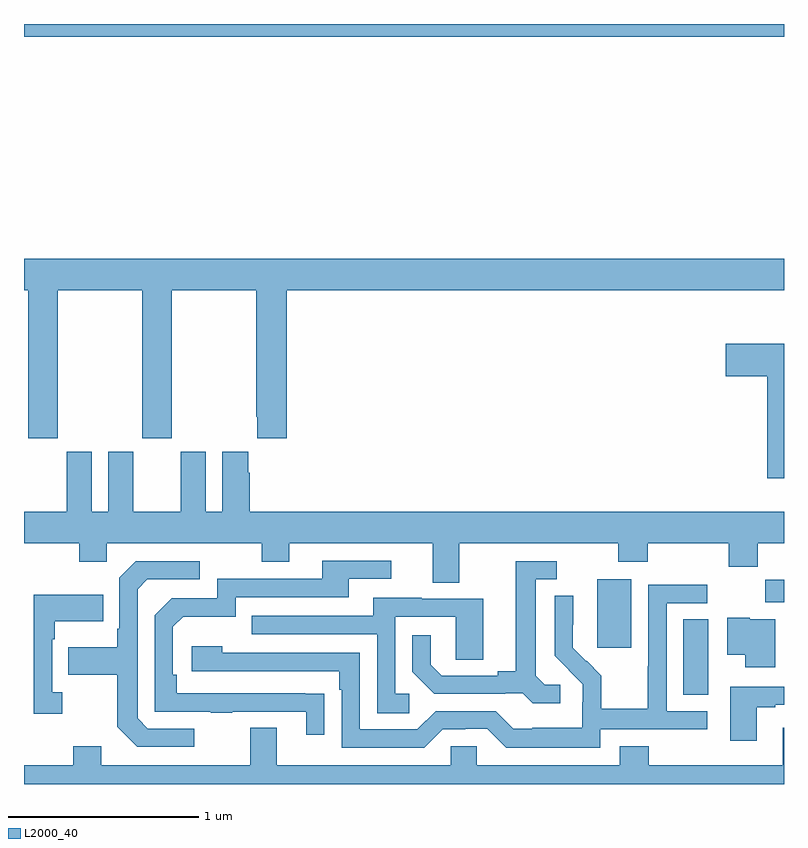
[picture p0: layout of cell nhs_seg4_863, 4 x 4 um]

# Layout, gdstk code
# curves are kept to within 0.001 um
import gdstk
lib = gdstk.Library(unit=1e-6, precision=1e-09)
def R(c, l, rs):  # rectangles x0, y0, x1, y1
    for r in rs: c.add(gdstk.rectangle(r[:2], r[2:], *l))
def P(c, l, *ps):  # polygons
    for p in ps: c.add(gdstk.Polygon(p, *l))
L2000_40 = (2000, 40)

nhs_seg4_863 = lib.new_cell('nhs_seg4_863')
R(nhs_seg4_863, L2000_40, [(158.471,781.369,158.602,781.766), (158.018,781.617,158.197,781.978), (158.902,781.856,159,781.975), (155,784.832,159,784.9)])
P(nhs_seg4_863, L2000_40, [(155.178,783.5),(155.623,783.5),(155.623,782.721),(155.778,782.721),(155.778,783.5),(156.223,783.5),(156.223,782.833),(156.227,782.833),(156.227,782.721),(156.383,782.721),(156.383,783.5),(159,783.5),(159,783.664),(155,783.664),(155,783.5),(155.023,783.5),(155.023,782.721),(155.178,782.721)],
  [(159,783.217),(158.694,783.217),(158.694,783.047),(158.912,783.047),(158.912,782.508),(159,782.508)],
  [(155.225,782.332),(155,782.332),(155,782.168),(155.29,782.168),(155.29,782.069),(155.436,782.069),(155.436,782.168),(156.25,782.168),(156.25,782.069),(156.397,782.069),(156.397,782.168),(157.151,782.168),(157.151,781.96),(157.291,781.96),(157.291,782.168),(158.128,782.168),(158.128,782.069),(158.283,782.069),(158.283,782.168),(158.71,782.168),(158.71,782.044),(158.861,782.044),(158.861,782.168),(159,782.168),(159,782.332),(156.188,782.332),(156.188,782.537),(156.181,782.537),(156.181,782.65),(156.044,782.65),(156.044,782.332),(155.956,782.332),(155.956,782.65),(155.825,782.65),(155.825,782.332),(155.575,782.332),(155.575,782.65),(155.444,782.65),(155.444,782.332),(155.356,782.332),(155.356,782.65),(155.225,782.65)],
  [(156.581,781.376),(155.804,781.377),(155.804,781.474),(155.784,781.474),(155.784,781.728),(155.837,781.781),(156.114,781.781),(156.114,781.884),(156.709,781.884),(156.709,781.98),(156.934,781.98),(156.934,782.076),(156.569,782.076),(156.569,781.98),(156.018,781.98),(156.018,781.878),(155.778,781.878),(155.688,781.788),(155.688,781.281),(155.983,781.281),(155.983,781.276),(156.095,781.276),(156.095,781.281),(156.485,781.281),(156.485,781.158),(156.581,781.158)],
  [(155.896,781.191),(155.652,781.191),(155.598,781.245),(155.598,781.926),(155.649,781.977),(155.926,781.977),(155.926,782.073),(155.589,782.073),(155.502,781.986),(155.502,781.717),(155.49,781.717),(155.49,781.621),(155.233,781.621),(155.233,781.474),(155.49,781.474),(155.49,781.201),(155.595,781.095),(155.896,781.095)],
  [(157.822,781.422),(157.74,781.422),(157.693,781.469),(157.693,781.977),(157.804,781.977),(157.804,782.073),(157.589,782.073),(157.589,781.493),(157.493,781.493),(157.493,781.47),(157.198,781.47),(157.141,781.527),(157.141,781.684),(157.044,781.684),(157.044,781.49),(157.16,781.374),(157.532,781.374),(157.532,781.377),(157.626,781.377),(157.678,781.325),(157.822,781.325)],
  [(158.034,781.188),(158.596,781.188),(158.596,781.284),(158.382,781.284),(158.382,781.851),(158.596,781.851),(158.596,781.95),(158.286,781.95),(158.286,781.52),(158.284,781.52),(158.284,781.297),(158.039,781.297),(158.039,781.471),(157.962,781.548),(157.959,781.545),(157.889,781.616),(157.89,781.892),(157.794,781.892),(157.794,781.574),(157.94,781.426),(157.94,781.329),(157.938,781.329),(157.938,781.195),(157.675,781.195),(157.675,781.191),(157.575,781.191),(157.482,781.284),(157.167,781.284),(157.071,781.188),(156.768,781.188),(156.768,781.59),(156.044,781.59),(156.044,781.624),(155.883,781.624),(155.883,781.494),(156.659,781.494),(156.659,781.397),(156.672,781.397),(156.672,781.092),(157.107,781.092),(157.203,781.188),(157.322,781.188),(157.322,781.191),(157.437,781.191),(157.537,781.091),(158.034,781.091)],
  [(155.2,781.382),(155.148,781.382),(155.148,781.661),(155.161,781.661),(155.161,781.757),(155.417,781.757),(155.417,781.897),(155.051,781.897),(155.051,781.269),(155.2,781.269)],
  [(157.027,781.374),(156.954,781.374),(156.954,781.779),(157.272,781.779),(157.272,781.555),(157.417,781.555),(157.417,781.875),(157.093,781.875),(157.093,781.879),(156.839,781.879),(156.839,781.785),(156.199,781.785),(156.199,781.689),(156.858,781.689),(156.858,781.273),(157.027,781.273)],
  [(158.953,781.768),(158.82,781.768),(158.82,781.774),(158.702,781.774),(158.702,781.58),(158.795,781.58),(158.795,781.515),(158.953,781.515)],
  [(158.857,781.305),(158.953,781.305),(158.953,781.317),(159,781.317),(159,781.413),(158.717,781.413),(158.717,781.128),(158.857,781.128)],
  [(159,781.195),(158.993,781.195),(158.993,781),(158.288,781),(158.288,781.099),(158.135,781.099),(158.135,781),(157.383,781),(157.383,781.098),(157.245,781.098),(157.245,781),(156.331,781),(156.331,781.195),(156.191,781.195),(156.191,781),(155.407,781),(155.407,781.099),(155.26,781.099),(155.26,781),(155,781),(155,780.9),(159,780.9)])

lib.write_gds('nhs_seg4_863.gds')
